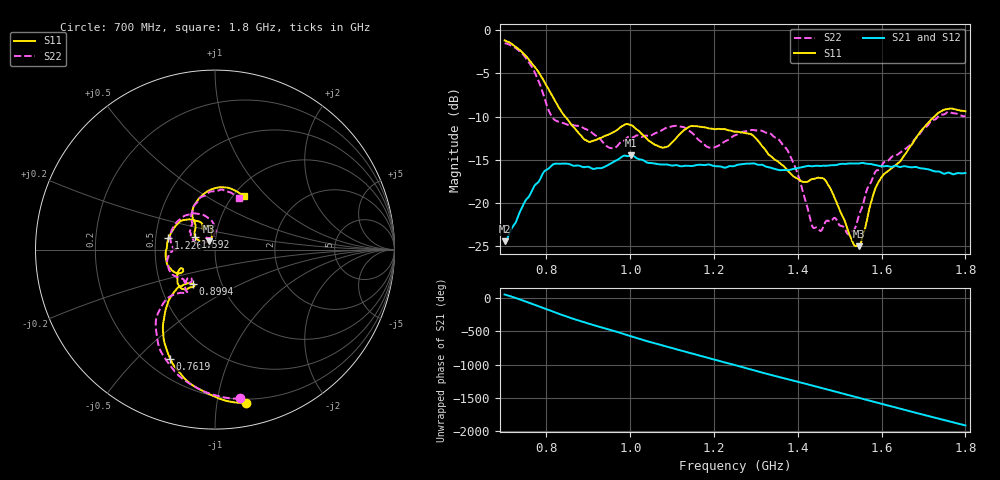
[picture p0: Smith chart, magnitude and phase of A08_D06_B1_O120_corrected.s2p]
! Created with skrf 1.9.0 (http://scikit-rf.org).
# Hz S RI R 50.0
!freq ReS11 ImS11 ReS21 ImS21 ReS12 ImS12 ReS22 ImS22
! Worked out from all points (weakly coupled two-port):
!   1601 points, 700 MHz to 1.8 GHz, reference 50 ohm
!   highest |S21| = -14.48 dB at 1.002 GHz (marker M1); lowest = -24.4 dB at 700 MHz (marker M2)
!   lowest |S11| = -25.0 dB at 1.546 GHz (marker M3), VSWR 1.12, Z = 46.6 + j4.27 ohm
!   |S11| at or under -10 dB: 844.6 MHz to 1.725 GHz (880.9 MHz wide, 68.5 % of centre)
!   |S22| runs from -23.6 to -1.5 dB; largest |S21 - S12| = 0.0034
!   S11 on the Smith chart (normalised r, x): 700 MHz: 0.17, -1.21; 761.9 MHz: 0.29, -0.63; 899.4 MHz: 0.73, -0.29; 1.226 GHz: 0.58, +0.08; 1.592 GHz: 0.79, +0.12; 1.8 GHz: 1.12, +0.76
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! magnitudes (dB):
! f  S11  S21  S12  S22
! 700 MHz  -1.2  -24.4  -24.2  -1.5
! 761.9 MHz  -3.7  -18.9  -18.9  -4.0
! 815.5 MHz  -7.7  -15.5  -15.6  -10.2
! 883.6 MHz  -12.3  -15.8  -15.7  -11.2
! 899.4 MHz  -12.9  -15.8  -15.8  -11.6
! 953.7 MHz  -12.0  -15.4  -15.4  -13.6
! 1.002 GHz  -11.0  -14.5  -14.6  -12.4
! 1.067 GHz  -13.4  -15.5  -15.5  -11.8
! 1.144 GHz  -11.1  -15.7  -15.7  -11.8
! 1.188 GHz  -11.4  -15.5  -15.6  -13.6
! 1.226 GHz  -11.5  -15.9  -15.8  -12.9
! 1.25 GHz  -11.7  -15.7  -15.6  -12.2
! 1.357 GHz  -15.4  -16.2  -16.1  -12.8
! 1.395 GHz  -17.1  -16.0  -16.0  -16.0
! 1.434 GHz  -17.2  -15.7  -15.7  -22.6
! 1.468 GHz  -17.5  -15.7  -15.7  -22.1
! 1.523 GHz  -23.6  -15.4  -15.4  -23.6
! 1.546 GHz  -25.0  -15.4  -15.4  -21.5
! 1.592 GHz  -17.6  -15.7  -15.7  -16.2
! 1.617 GHz  -16.2  -15.8  -15.7  -15.0
! 1.733 GHz  -9.7  -16.3  -16.4  -10.1
! 1.8 GHz  -9.4  -16.5  -16.5  -10.0
